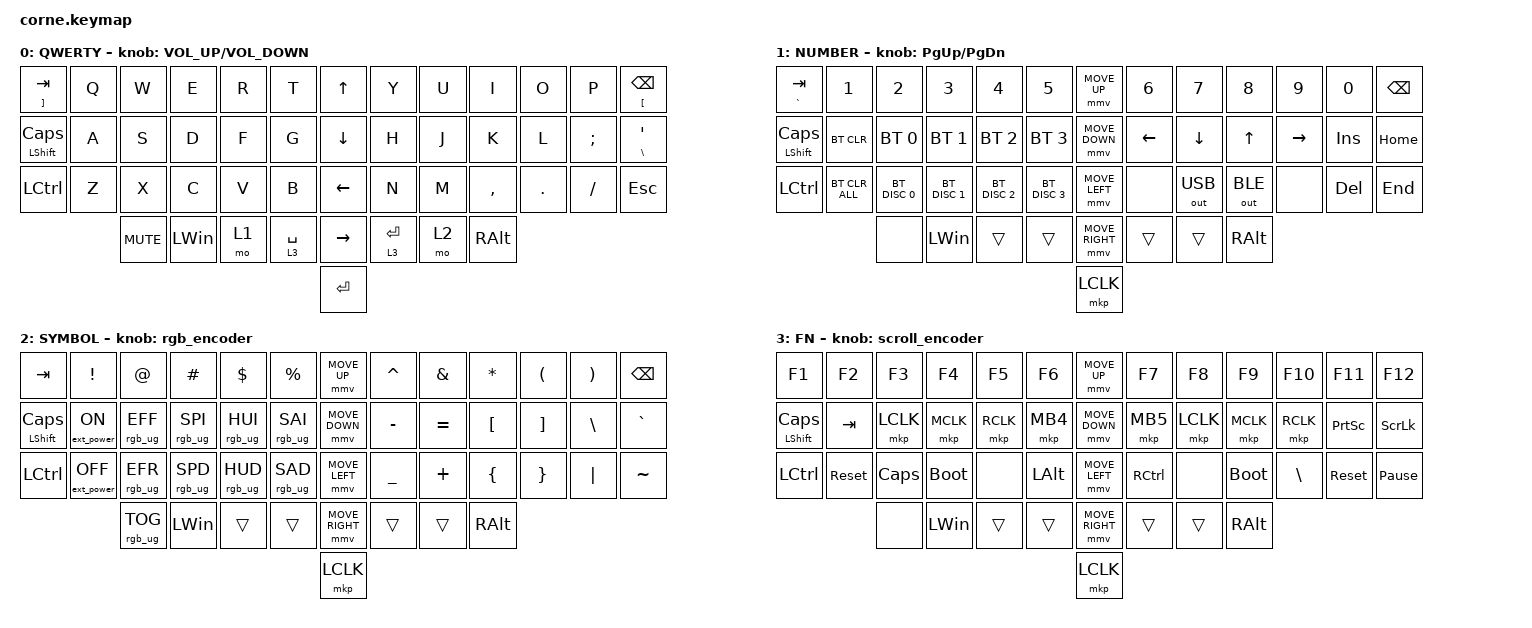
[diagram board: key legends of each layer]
#include <behaviors/mouse_keys.dtsi>
#include <behaviors.dtsi>
#include <dt-bindings/zmk/bt.h>
#include <dt-bindings/zmk/ext_power.h>
#include <dt-bindings/zmk/keys.h>
#include <dt-bindings/zmk/mouse.h>
#include <dt-bindings/zmk/outputs.h>
#include <dt-bindings/zmk/rgb.h>

#define ZMK_MOUSE_DEFAULT_MOVE_VAL 1200  // 600
#define ZMK_MOUSE_DEFAULT_SCRL_VAL 20    // 10
#define U_MS_U &mmv MOVE_UP
#define U_MS_D &mmv MOVE_DOWN
#define U_MS_L &mmv MOVE_LEFT
#define U_MS_R &mmv MOVE_RIGHT

/ {
    behaviors {
        mmv {
            acceleration-exponent = <1>;   // 1
            time-to-max-speed-ms = <900>;  // 40
            delay-ms = <0>;                // 0
        };

        msc {
            acceleration-exponent = <1>;   // 0
            time-to-max-speed-ms = <400>;  // 500
            delay-ms = <0>;                // 10
        };
    };

    rgb_encoder: rgb_encoder {
        compatible = "zmk,behavior-sensor-rotate";
        label = "RGB_ENCODER";
        #sensor-binding-cells = <0>;
        bindings = <&rgb_ug RGB_BRI>, <&rgb_ug RGB_BRD>;
    };

    scroll_encoder: scroll_encoder {
        compatible = "zmk,behavior-sensor-rotate";
        #sensor-binding-cells = <0>;
        bindings = <&msc SCRL_DOWN>, <&msc SCRL_UP>;

        tap-ms = <30>;
    };

    keymap {
        compatible = "zmk,keymap";

        DEFAULT_0 {
            display-name = "QWERTY";

            // --------------------------------------------------------------------------------
            // |  TAB |  Q  |  W  |  E  |  R  |  T  |                ↑    |  Y  |  U   |  I  |  O  |  P  | BKSP |      &kp UP_ARROW 
            // | SHIFT |  A  |  S  |  D  |  F  |  G  |               ↓    |  H  |  J   |  K  |  L  |  ;  |  '   | 
            // | CTRL |  Z  |  X  |  C  |  V  |  B  |                ←    |  N  |  M   |  ,  |  .  |  /  | ESC  |
            //                    | GUI | LWR | SPC |                →    | ENT | RSE  | ALT |
            //                                                      enter

            bindings = <
&mt RIGHT_BRACKET TAB    &kp Q  &kp W       &kp E         &kp R  &kp T          &kp UP_ARROW     &kp Y        &kp U  &kp I          &kp O    &kp P     &mt LEFT_BRACKET BACKSPACE
&mt LEFT_SHIFT CAPSLOCK  &kp A  &kp S       &kp D         &kp F  &kp G          &kp DOWN_ARROW   &kp H        &kp J  &kp K          &kp L    &kp SEMI  &mt BACKSLASH APOSTROPHE
&kp LEFT_CONTROL         &kp Z  &kp X       &kp C         &kp V  &kp B          &kp LEFT_ARROW   &kp N        &kp M  &kp COMMA      &kp DOT  &kp FSLH  &kp ESC
                                &kp C_MUTE  &kp LEFT_WIN  &mo 1  &lt 3 SPACE    &kp RIGHT_ARROW  &lt 3 ENTER  &mo 2  &kp RIGHT_ALT
                                                                                &kp ENTER
            >;

            label = "QWERTY";
            sensor-bindings = <&inc_dec_kp C_VOLUME_UP C_VOLUME_DOWN>;
        };

        BLUETOOTH_1 {
            display-name = "NUMBER";

            // -----------------------------------------------------------------------------------------
            // |  TAB |  1  |  2  |  3  |  4  |  5  |   |  6  |  7  |  8  |  9  |  0  | BKSP |
            // | BTCLR| BT1 | BT2 | BT3 | BT4 | BT5 |   | LFT | DWN |  UP | RGT |     |      |
            // | SHFT |     |     |     |     |     |   |     |     |     |     |     |      |
            //                    | GUI |     | SPC |   | ENT |     | ALT |

            bindings = <
&mt GRAVE TAB            &kp NUMBER_1    &kp NUMBER_2   &kp NUMBER_3   &kp NUMBER_4   &kp N5           &mmv MOVE_UP     &kp N6    &kp N7        &kp N8         &kp N9     &kp N0      &kp BSPC
&mt LEFT_SHIFT CAPSLOCK  &bt BT_CLR      &bt BT_SEL 0   &bt BT_SEL 1   &bt BT_SEL 2   &bt BT_SEL 3     &mmv MOVE_DOWN   &kp LEFT  &kp DOWN      &kp UP         &kp RIGHT  &kp INSERT  &kp HOME
&kp LEFT_CONTROL         &bt BT_CLR_ALL  &bt BT_DISC 0  &bt BT_DISC 1  &bt BT_DISC 2  &bt BT_DISC 3    &mmv MOVE_LEFT   &none     &out OUT_USB  &out OUT_BLE   &none      &kp DELETE  &kp END
                                         &none          &kp LEFT_WIN   &trans         &trans           &mmv MOVE_RIGHT  &trans    &trans        &kp RIGHT_ALT
                                                                                                       &mkp LCLK
            >;

            label = "NUMBER";
            sensor-bindings = <&inc_dec_kp PAGE_UP PAGE_DOWN>;
        };

        UNDERGLOW_2 {
            display-name = "SYMBOL";

            // -----------------------------------------------------------------------------------------
            // |  TAB |  !  |  @  |  #  |  $  |  %  |   |  ^  |  &  |  *  |  (  |  )  | BKSP |
            // | CTRL |     |     |     |     |     |   |  -  |  =  |  [  |  ]  |  \  |  `   |
            // | SHFT |     |     |     |     |     |   |  _  |  +  |  {  |  }  | "|" |  ~   |
            //                    | GUI |     | SPC |   | ENT |     | ALT |

            bindings = <
&kp TAB                  &kp EXCLAMATION    &kp AT_SIGN      &kp HASH         &kp DOLLAR       &kp PERCENT        &mmv MOVE_UP     &kp CARET  &kp AMPERSAND  &kp ASTERISK   &kp LEFT_PARENTHESIS  &kp RIGHT_PARENTHESIS  &kp BSPC
&mt LEFT_SHIFT CAPSLOCK  &ext_power EP_ON   &rgb_ug RGB_EFF  &rgb_ug RGB_SPI  &rgb_ug RGB_HUI  &rgb_ug RGB_SAI    &mmv MOVE_DOWN   &kp MINUS  &kp EQUAL      &kp LBKT       &kp RBKT              &kp BSLH               &kp GRAVE
&kp LEFT_CONTROL         &ext_power EP_OFF  &rgb_ug RGB_EFR  &rgb_ug RGB_SPD  &rgb_ug RGB_HUD  &rgb_ug RGB_SAD    &mmv MOVE_LEFT   &kp UNDER  &kp PLUS       &kp LBRC       &kp RBRC              &kp PIPE               &kp TILDE
                                            &rgb_ug RGB_TOG  &kp LEFT_WIN     &trans           &trans             &mmv MOVE_RIGHT  &trans     &trans         &kp RIGHT_ALT
                                                                                                                  &mkp LCLK
            >;

            label = "SYMBOL";
            sensor-bindings = <&rgb_encoder>;
        };

        MOUSE_3 {
            display-name = "FN";
            bindings = <
&kp F1                   &kp F2      &kp F3        &kp F4        &kp F5     &kp F6          &mmv MOVE_UP     &kp F7             &kp F8     &kp F9         &kp F10        &kp F11          &kp F12
&mt LEFT_SHIFT CAPSLOCK  &kp TAB     &mkp LCLK     &mkp MCLK     &mkp RCLK  &mkp MB4        &mmv MOVE_DOWN   &mkp MB5           &mkp LCLK  &mkp MCLK      &mkp RCLK      &kp PRINTSCREEN  &kp SCROLLLOCK
&kp LEFT_CONTROL         &sys_reset  &kp CAPSLOCK  &bootloader   &none      &kp LEFT_ALT    &mmv MOVE_LEFT   &kp RIGHT_CONTROL  &none      &bootloader    &kp BACKSLASH  &sys_reset       &kp PAUSE_BREAK
                                     &none         &kp LEFT_WIN  &trans     &trans          &mmv MOVE_RIGHT  &trans             &trans     &kp RIGHT_ALT
                                                                                            &mkp LCLK
            >;

            label = "FN";
            sensor-bindings = <&scroll_encoder>;
        };
    };
};
